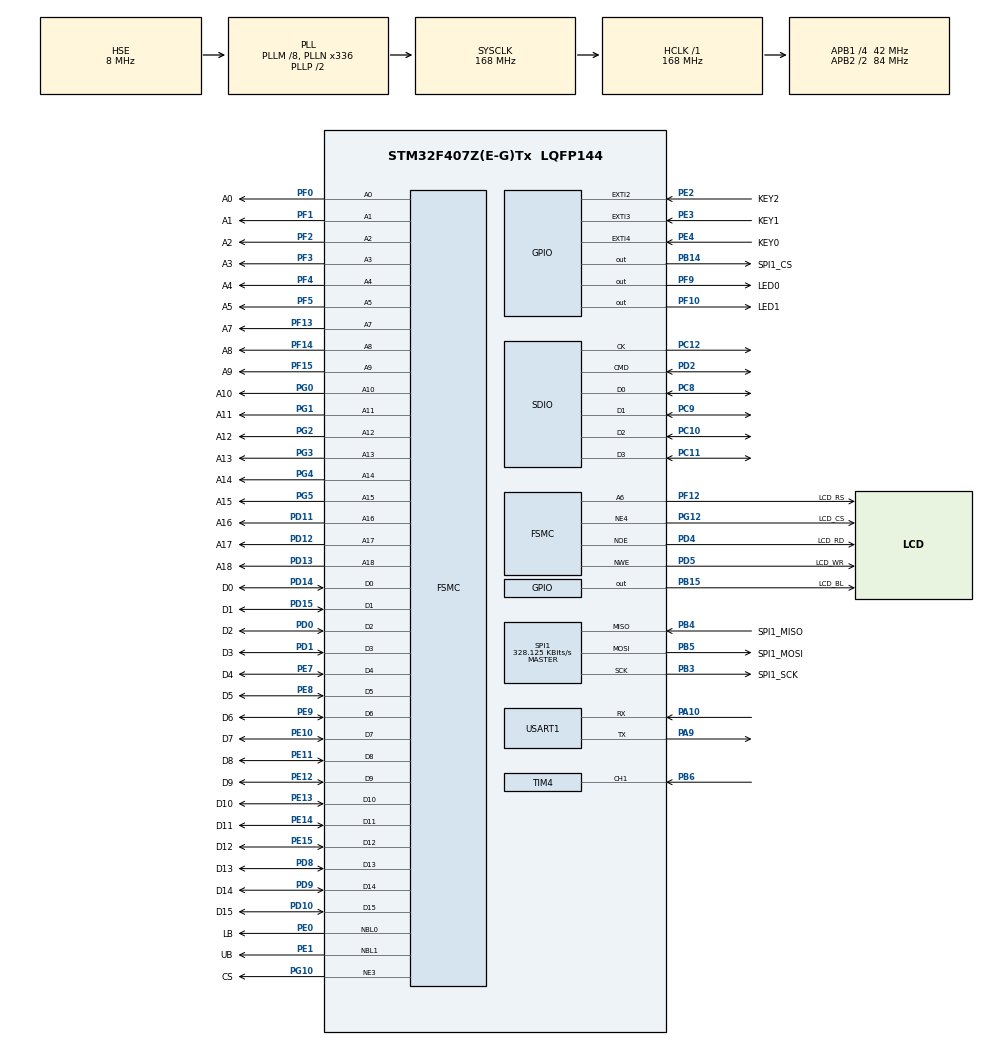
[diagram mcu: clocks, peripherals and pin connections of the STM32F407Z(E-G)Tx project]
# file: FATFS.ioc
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Dma.Request0=SDIO_RX
Dma.Request1=SDIO_TX
Dma.SDIO_RX.0.Direction=DMA_PERIPH_TO_MEMORY
Dma.SDIO_RX.0.FIFOMode=DMA_FIFOMODE_ENABLE
Dma.SDIO_RX.0.FIFOThreshold=DMA_FIFO_THRESHOLD_FULL
Dma.SDIO_RX.0.Instance=DMA2_Stream3
Dma.SDIO_RX.0.MemBurst=DMA_MBURST_INC4
Dma.SDIO_RX.0.MemDataAlignment=DMA_MDATAALIGN_BYTE
Dma.SDIO_RX.0.MemInc=DMA_MINC_ENABLE
Dma.SDIO_RX.0.Mode=DMA_PFCTRL
Dma.SDIO_RX.0.PeriphBurst=DMA_PBURST_INC4
Dma.SDIO_RX.0.PeriphDataAlignment=DMA_PDATAALIGN_WORD
Dma.SDIO_RX.0.PeriphInc=DMA_PINC_DISABLE
Dma.SDIO_RX.0.Priority=DMA_PRIORITY_LOW
Dma.SDIO_TX.1.Direction=DMA_MEMORY_TO_PERIPH
Dma.SDIO_TX.1.FIFOMode=DMA_FIFOMODE_ENABLE
Dma.SDIO_TX.1.FIFOThreshold=DMA_FIFO_THRESHOLD_FULL
Dma.SDIO_TX.1.Instance=DMA2_Stream6
Dma.SDIO_TX.1.MemBurst=DMA_MBURST_INC4
Dma.SDIO_TX.1.MemDataAlignment=DMA_MDATAALIGN_BYTE
Dma.SDIO_TX.1.MemInc=DMA_MINC_ENABLE
Dma.SDIO_TX.1.Mode=DMA_PFCTRL
Dma.SDIO_TX.1.PeriphBurst=DMA_PBURST_INC4
Dma.SDIO_TX.1.PeriphDataAlignment=DMA_PDATAALIGN_WORD
Dma.SDIO_TX.1.PeriphInc=DMA_PINC_DISABLE
Dma.SDIO_TX.1.Priority=DMA_PRIORITY_LOW
FSMC.AddressSetupTime1=2
FSMC.BusTurnAroundDuration1=0
FSMC.DataSetupTime1=8
FSMC.DataSetupTime2=60
FSMC.ExtendedAddressSetupTime2=9
FSMC.ExtendedDataSetupTime2=9
FSMC.ExtendedMode2=FSMC_EXTENDED_MODE_ENABLE
Mcu.Family=STM32F4
Mcu.Name=STM32F407Z(E-G)Tx
Mcu.Package=LQFP144
NVIC.DMA2_Stream3_IRQn=true\:2\:0\:true\:false\:true\:false\:true
NVIC.DMA2_Stream6_IRQn=true\:2\:0\:true\:false\:true\:false\:true
NVIC.EXTI2_IRQn=true\:3\:1\:true\:false\:true\:true\:true
NVIC.EXTI3_IRQn=true\:3\:1\:true\:false\:true\:true\:true
NVIC.EXTI4_IRQn=true\:3\:1\:true\:false\:true\:true\:true
NVIC.PriorityGroup=NVIC_PRIORITYGROUP_2
NVIC.SDIO_IRQn=true\:1\:0\:true\:false\:true\:true\:true
NVIC.TIM4_IRQn=true\:3\:3\:true\:false\:true\:true\:true
NVIC.USART1_IRQn=true\:3\:3\:true\:false\:true\:true\:true
PA10.Mode=Asynchronous
PA10.Signal=USART1_RX
PA13.Mode=Serial_Wire
PA13.Signal=SYS_JTMS-SWDIO
PA14.Mode=Serial_Wire
PA14.Signal=SYS_JTCK-SWCLK
PA9.Mode=Asynchronous
PA9.Signal=USART1_TX
PB14.GPIO_Label=SPI1_CS
PB14.GPIO_PuPd=GPIO_PULLUP
PB14.GPIO_Speed=GPIO_SPEED_FREQ_HIGH
PB14.PinState=GPIO_PIN_SET
PB14.Signal=GPIO_Output
PB15.GPIO_Label=LCD_BL
PB15.GPIO_PuPd=GPIO_PULLDOWN
PB15.GPIO_Speed=GPIO_SPEED_FREQ_HIGH
PB15.PinState=GPIO_PIN_SET
PB15.Signal=GPIO_Output
PB3.GPIO_Label=SPI1_SCK
PB3.GPIO_PuPd=GPIO_PULLUP
PB3.Mode=Full_Duplex_Master
PB3.Signal=SPI1_SCK
PB4.GPIO_Label=SPI1_MISO
PB4.GPIO_PuPd=GPIO_PULLUP
PB4.Mode=Full_Duplex_Master
PB4.Signal=SPI1_MISO
PB5.GPIO_Label=SPI1_MOSI
PB5.GPIO_PuPd=GPIO_PULLUP
PB5.Mode=Full_Duplex_Master
PB5.Signal=SPI1_MOSI
PB6.Signal=S_TIM4_CH1
PC10.GPIO_PuPd=GPIO_PULLUP
PC10.Mode=SD_4_bits_Wide_bus
PC10.Signal=SDIO_D2
PC11.GPIO_PuPd=GPIO_PULLUP
PC11.Mode=SD_4_bits_Wide_bus
PC11.Signal=SDIO_D3
PC12.GPIO_PuPd=GPIO_PULLUP
PC12.Mode=SD_4_bits_Wide_bus
PC12.Signal=SDIO_CK
PC8.GPIO_PuPd=GPIO_PULLUP
PC8.Mode=SD_4_bits_Wide_bus
PC8.Signal=SDIO_D0
PC9.GPIO_PuPd=GPIO_PULLUP
PC9.Mode=SD_4_bits_Wide_bus
PC9.Signal=SDIO_D1
PD0.GPIO_Label=D2
PD0.GPIO_PuPd=GPIO_PULLUP
PD0.Signal=FSMC_D2_DA2
PD1.GPIO_Label=D3
PD1.GPIO_PuPd=GPIO_PULLUP
PD1.Signal=FSMC_D3_DA3
PD10.GPIO_Label=D15
PD10.GPIO_PuPd=GPIO_PULLUP
PD10.Signal=FSMC_D15_DA15
PD11.GPIO_Label=A16
PD11.GPIO_PuPd=GPIO_PULLUP
PD11.Signal=FSMC_A16_CLE
PD12.GPIO_Label=A17
PD12.Signal=FSMC_A17_ALE
PD13.GPIO_Label=A18
PD13.Signal=FSMC_A18
PD14.GPIO_Label=D0
PD14.GPIO_PuPd=GPIO_PULLUP
PD14.Signal=FSMC_D0_DA0
PD15.GPIO_Label=D1
PD15.GPIO_PuPd=GPIO_PULLUP
PD15.Signal=FSMC_D1_DA1
PD2.GPIO_PuPd=GPIO_PULLUP
PD2.Mode=SD_4_bits_Wide_bus
PD2.Signal=SDIO_CMD
PD4.GPIO_Label=LCD_RD
PD4.GPIO_PuPd=GPIO_PULLUP
PD4.Signal=FSMC_NOE
PD5.GPIO_Label=LCD_WR
PD5.GPIO_PuPd=GPIO_PULLUP
PD5.Signal=FSMC_NWE
PD8.GPIO_Label=D13
PD8.GPIO_PuPd=GPIO_PULLUP
PD8.Signal=FSMC_D13_DA13
PD9.GPIO_Label=D14
PD9.GPIO_PuPd=GPIO_PULLUP
PD9.Signal=FSMC_D14_DA14
PE0.GPIO_Label=LB
PE0.GPIO_PuPd=GPIO_PULLUP
PE0.Signal=FSMC_NBL0
PE1.GPIO_Label=UB
PE1.GPIO_PuPd=GPIO_PULLUP
PE1.Signal=FSMC_NBL1
PE10.GPIO_Label=D7
PE10.GPIO_PuPd=GPIO_PULLUP
PE10.Signal=FSMC_D7_DA7
PE11.GPIO_Label=D8
PE11.GPIO_PuPd=GPIO_PULLUP
PE11.Signal=FSMC_D8_DA8
PE12.GPIO_Label=D9
PE12.GPIO_PuPd=GPIO_PULLUP
PE12.Signal=FSMC_D9_DA9
PE13.GPIO_Label=D10
PE13.GPIO_PuPd=GPIO_PULLUP
PE13.Signal=FSMC_D10_DA10
PE14.GPIO_Label=D11
PE14.GPIO_PuPd=GPIO_PULLUP
PE14.Signal=FSMC_D11_DA11
PE15.GPIO_Label=D12
PE15.GPIO_PuPd=GPIO_PULLUP
PE15.Signal=FSMC_D12_DA12
PE2.GPIO_Label=KEY2
PE2.GPIO_ModeDefaultEXTI=GPIO_MODE_IT_FALLING
PE2.GPIO_PuPd=GPIO_PULLUP
PE2.Signal=GPXTI2
PE3.GPIO_Label=KEY1
PE3.GPIO_ModeDefaultEXTI=GPIO_MODE_IT_FALLING
PE3.GPIO_PuPd=GPIO_PULLUP
PE3.Signal=GPXTI3
PE4.GPIO_Label=KEY0
PE4.GPIO_ModeDefaultEXTI=GPIO_MODE_IT_FALLING
PE4.GPIO_PuPd=GPIO_PULLUP
PE4.Signal=GPXTI4
PE7.GPIO_Label=D4
PE7.GPIO_PuPd=GPIO_PULLUP
PE7.Signal=FSMC_D4_DA4
PE8.GPIO_Label=D5
PE8.GPIO_PuPd=GPIO_PULLUP
PE8.Signal=FSMC_D5_DA5
PE9.GPIO_Label=D6
PE9.GPIO_PuPd=GPIO_PULLUP
PE9.Signal=FSMC_D6_DA6
PF0.GPIO_Label=A0
PF0.GPIO_PuPd=GPIO_PULLUP
PF0.Signal=FSMC_A0
PF1.GPIO_Label=A1
PF1.Signal=FSMC_A1
PF10.GPIO_Label=LED1
PF10.GPIO_PuPd=GPIO_PULLUP
PF10.GPIO_Speed=GPIO_SPEED_FREQ_HIGH
PF10.PinState=GPIO_PIN_SET
PF10.Signal=GPIO_Output
PF12.GPIO_Label=LCD_RS
PF12.GPIO_PuPd=GPIO_PULLUP
PF12.Signal=FSMC_A6
PF13.GPIO_Label=A7
PF13.GPIO_PuPd=GPIO_PULLUP
PF13.Signal=FSMC_A7
PF14.GPIO_Label=A8
PF14.GPIO_PuPd=GPIO_PULLUP
PF14.Signal=FSMC_A8
PF15.GPIO_Label=A9
PF15.GPIO_PuPd=GPIO_PULLUP
PF15.Signal=FSMC_A9
PF2.GPIO_Label=A2
PF2.Signal=FSMC_A2
PF3.GPIO_Label=A3
PF3.Signal=FSMC_A3
PF4.GPIO_Label=A4
PF4.GPIO_PuPd=GPIO_PULLUP
PF4.Signal=FSMC_A4
PF5.GPIO_Label=A5
PF5.GPIO_PuPd=GPIO_PULLUP
PF5.Signal=FSMC_A5
PF9.GPIO_Label=LED0
PF9.GPIO_PuPd=GPIO_PULLUP
PF9.GPIO_Speed=GPIO_SPEED_FREQ_HIGH
PF9.PinState=GPIO_PIN_SET
PF9.Signal=GPIO_Output
PG0.GPIO_Label=A10
PG0.GPIO_PuPd=GPIO_PULLUP
PG0.Signal=FSMC_A10
PG1.GPIO_Label=A11
PG1.GPIO_PuPd=GPIO_PULLUP
PG1.Signal=FSMC_A11
PG10.GPIO_Label=CS
PG10.GPIO_PuPd=GPIO_PULLUP
PG10.Mode=NorPsramChipSelect3_1
PG10.Signal=FSMC_NE3
PG12.GPIO_Label=LCD_CS
PG12.GPIO_PuPd=GPIO_PULLUP
PG12.Mode=NorPsramChipSelect4_2
PG12.Signal=FSMC_NE4
PG2.GPIO_Label=A12
PG2.Signal=FSMC_A12
PG3.GPIO_Label=A13
PG3.GPIO_PuPd=GPIO_PULLUP
PG3.Signal=FSMC_A13
PG4.GPIO_Label=A14
PG4.GPIO_PuPd=GPIO_PULLUP
PG4.Signal=FSMC_A14
PG5.GPIO_Label=A15
PG5.GPIO_PuPd=GPIO_PULLUP
PG5.Signal=FSMC_A15
PH0-OSC_IN.Mode=HSE-External-Oscillator
PH0-OSC_IN.Signal=RCC_OSC_IN
PH1-OSC_OUT.Mode=HSE-External-Oscillator
PH1-OSC_OUT.Signal=RCC_OSC_OUT
ProjectManager.HeapSize=0x200
ProjectManager.StackSize=0x400
ProjectManager.TargetToolchain=MDK-ARM V5
RCC.48MHZClocksFreq_Value=48000000
RCC.AHBFreq_Value=168000000
RCC.APB1CLKDivider=RCC_HCLK_DIV4
RCC.APB1Freq_Value=42000000
RCC.APB1TimFreq_Value=84000000
RCC.APB2CLKDivider=RCC_HCLK_DIV2
RCC.APB2Freq_Value=84000000
RCC.APB2TimFreq_Value=168000000
RCC.CortexFreq_Value=168000000
RCC.HCLKFreq_Value=168000000
RCC.HSE_VALUE=8000000
RCC.HSI_VALUE=16000000
RCC.LSE_VALUE=32768
RCC.PLLM=8
RCC.PLLN=336
RCC.PLLQ=7
RCC.PLLSourceVirtual=RCC_PLLSOURCE_HSE
RCC.SYSCLKFreq_VALUE=168000000
RCC.SYSCLKSource=RCC_SYSCLKSOURCE_PLLCLK
RCC.VCOOutputFreq_Value=336000000
SH.FSMC_A0.0=FSMC_A0,19b-a1
SH.FSMC_A1.0=FSMC_A1,19b-a1
SH.FSMC_A10.0=FSMC_A10,19b-a1
SH.FSMC_A11.0=FSMC_A11,19b-a1
SH.FSMC_A12.0=FSMC_A12,19b-a1
SH.FSMC_A13.0=FSMC_A13,19b-a1
SH.FSMC_A14.0=FSMC_A14,19b-a1
SH.FSMC_A15.0=FSMC_A15,19b-a1
SH.FSMC_A16_CLE.0=FSMC_A16,19b-a1
SH.FSMC_A17_ALE.0=FSMC_A17,19b-a1
SH.FSMC_A18.0=FSMC_A18,19b-a1
SH.FSMC_A2.0=FSMC_A2,19b-a1
SH.FSMC_A3.0=FSMC_A3,19b-a1
SH.FSMC_A4.0=FSMC_A4,19b-a1
SH.FSMC_A5.0=FSMC_A5,19b-a1
SH.FSMC_A6.0=FSMC_A6,A6_2
SH.FSMC_A6.1=FSMC_A6,19b-a1
SH.FSMC_A7.0=FSMC_A7,19b-a1
SH.FSMC_A8.0=FSMC_A8,19b-a1
SH.FSMC_A9.0=FSMC_A9,19b-a1
SH.FSMC_D0_DA0.0=FSMC_D0,16b-d2
SH.FSMC_D0_DA0.1=FSMC_D0,16b-d1
SH.FSMC_D10_DA10.0=FSMC_D10,16b-d2
SH.FSMC_D10_DA10.1=FSMC_D10,16b-d1
SH.FSMC_D11_DA11.0=FSMC_D11,16b-d2
SH.FSMC_D11_DA11.1=FSMC_D11,16b-d1
SH.FSMC_D12_DA12.0=FSMC_D12,16b-d2
SH.FSMC_D12_DA12.1=FSMC_D12,16b-d1
SH.FSMC_D13_DA13.0=FSMC_D13,16b-d2
SH.FSMC_D13_DA13.1=FSMC_D13,16b-d1
SH.FSMC_D14_DA14.0=FSMC_D14,16b-d2
SH.FSMC_D14_DA14.1=FSMC_D14,16b-d1
SH.FSMC_D15_DA15.0=FSMC_D15,16b-d2
SH.FSMC_D15_DA15.1=FSMC_D15,16b-d1
SH.FSMC_D1_DA1.0=FSMC_D1,16b-d2
SH.FSMC_D1_DA1.1=FSMC_D1,16b-d1
SH.FSMC_D2_DA2.0=FSMC_D2,16b-d2
SH.FSMC_D2_DA2.1=FSMC_D2,16b-d1
SH.FSMC_D3_DA3.0=FSMC_D3,16b-d2
SH.FSMC_D3_DA3.1=FSMC_D3,16b-d1
SH.FSMC_D4_DA4.0=FSMC_D4,16b-d2
SH.FSMC_D4_DA4.1=FSMC_D4,16b-d1
SH.FSMC_D5_DA5.0=FSMC_D5,16b-d2
SH.FSMC_D5_DA5.1=FSMC_D5,16b-d1
SH.FSMC_D6_DA6.0=FSMC_D6,16b-d2
SH.FSMC_D6_DA6.1=FSMC_D6,16b-d1
SH.FSMC_D7_DA7.0=FSMC_D7,16b-d2
SH.FSMC_D7_DA7.1=FSMC_D7,16b-d1
SH.FSMC_D8_DA8.0=FSMC_D8,16b-d2
SH.FSMC_D8_DA8.1=FSMC_D8,16b-d1
SH.FSMC_D9_DA9.0=FSMC_D9,16b-d2
SH.FSMC_D9_DA9.1=FSMC_D9,16b-d1
SH.FSMC_NBL0.0=FSMC_NBL0,2ByteEnable1
SH.FSMC_NBL1.0=FSMC_NBL1,2ByteEnable1
SH.FSMC_NOE.0=FSMC_NOE,Lcd2
SH.FSMC_NOE.1=FSMC_NOE,Sram1
SH.FSMC_NWE.0=FSMC_NWE,Lcd2
SH.FSMC_NWE.1=FSMC_NWE,Sram1
SH.S_TIM4_CH1.0=TIM4_CH1,Input_Capture1_from_TI1
SPI1.BaudRatePrescaler=SPI_BAUDRATEPRESCALER_256
SPI1.CLKPhase=SPI_PHASE_2EDGE
SPI1.CLKPolarity=SPI_POLARITY_HIGH
SPI1.CalculateBaudRate=328.125 KBits/s
SPI1.Direction=SPI_DIRECTION_2LINES
SPI1.Mode=SPI_MODE_MASTER
SPI1.VirtualType=VM_MASTER
TIM4.Channel-Input_Capture1_from_TI1=TIM_CHANNEL_1
TIM4.ICPolarity_CH1=TIM_INPUTCHANNELPOLARITY_FALLING
TIM4.Prescaler=84-1
USART1.VirtualMode=VM_ASYNC
VP_TIM4_VS_ClockSourceINT.Mode=Internal
board=custom

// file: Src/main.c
/* USER CODE BEGIN Header */
/**
  ******************************************************************************
  * @file           : main.c
  * @brief          : Main program body
  ******************************************************************************
  * @attention
  *
  * <h2><center>&copy; Copyright (c) 2024 STMicroelectronics.
  * All rights reserved.</center></h2>
  *
  * This software component is licensed by ST under BSD 3-Clause license,
  * the "License"; You may not use this file except in compliance with the
  * License. You may obtain a copy of the License at:
  *                        opensource.org/licenses/BSD-3-Clause
  *
  ******************************************************************************
  */
/* USER CODE END Header */

#include "main.h"
#include "dma.h"
#include "sdio.h"
#include "spi.h"
#include "tim.h"
#include "usart.h"
#include "gpio.h"
#include "fsmc.h"

/* USER CODE BEGIN Includes */
#include "delay.h"
#include "lcd.h"
#include "norflash.h"
#include "exti.h"
#include "sdio_sdcard.h"

#include "sram.h"
#include "mymalloc.h"

#include "usmart.h"
#include "exfuns.h"  //fs、exfuns_init
#include "diskio.h"  //disk_initialize
/* USER CODE END Includes */

/* USER CODE BEGIN PV */
uint8_t lcd_id[12];
uint16_t colors[12] = {WHITE, BLACK, BLUE, RED, MAGENTA, GREEN, CYAN, YELLOW, BRRED, GRAY, LGRAY, BROWN};uint8_t color_index = 0;
uint8_t cur_brightness;
uint8_t* str[23];

HAL_SD_CardInfoTypeDef  g_sd_card_info_handle;   /* SD卡信息结构体 */
uint8_t res = 0;
uint32_t total_space, free_space;
/* USER CODE END PV */

void SystemClock_Config(void);

int main(void)
{

  /* MCU Configuration--------------------------------------------------------*/

  /* Reset of all peripherals, Initializes the Flash interface and the Systick. */
  HAL_Init();

  /* Configure the system clock */
  SystemClock_Config();

  /* Initialize all configured peripherals */
  MX_GPIO_Init();
  MX_DMA_Init();
  MX_FSMC_Init();
  MX_SPI1_Init();
  MX_USART1_UART_Init();
  MX_SDIO_SD_Init();
  MX_TIM4_Init();
  /* USER CODE BEGIN 2 */
	delay_init(168);                        /* 延时初始化 */
	lcd_init();                             /* 初始化LCD */
  g_point_color = RED;
  sprintf((char *)lcd_id, "LCD ID:%04X", lcddev.id);  /* 将LCD ID打印到lcd_id数组 */
	//HAL_GPIO_WritePin(LED1_GPIO_Port, LED1_Pin, GPIO_PIN_RESET);  //LED1亮
	lcd_set_backlight_by_pwm(0xFF); // 设置占空比为255,开启背光最亮

	cur_brightness = lcd_get_backlight_by_pwm(); //获取当前背光值
	sprintf((char*)str, "current brightness:%3u", cur_brightness);

	lcd_clear(colors[color_index]);  //清屏
	lcd_show_string(10, 40, 240, 32, 32, "STM32", RED);
	lcd_show_string(10, 80, 240, 24, 24, "TFTLCD TEST", RED);
	lcd_show_string(10, 110, 240, 16, 16, "ATOM@ALIENTEK", RED);
	lcd_show_string(10, 130, 240, 16, 16, (char *)lcd_id, RED); /* 显示LCD ID */
	lcd_show_string(10, 150, 240, 16, 16, (char *)str, RED); /* 显示亮度 */
	lcd_show_string(10, 170, 200, 16, 16, "KEY0:Test SD!", RED);
	lcd_show_string(10, 190, 200, 16, 16, "KEY1:Test norflash!", RED);
	lcd_show_string(10, 210, 200, 16, 16, "KEY2:Test SRAM!", RED);

	norflash_init();  //初始化norflash
	uint16_t id = norflash_read_id();
	printf("norflash id is %d\n", id);
	sprintf((char *)datatemp, "%s", (char *)g_text_buf);
	while ((id == 0) || (id == 0xFFFF)) /* 检测不到FLASH芯片 */ {
		printf("FLASH Check Failed!\n");
		HAL_Delay(500);
		printf("Please Check! \n");
		HAL_Delay(500);
	}

	sram_init();                        /* SRAM初始化 */

	my_mem_init(SRAMIN);                /* 初始化内部SRAM内存池 */
	my_mem_init(SRAMEX);                /* 初始化外部SRAM内存池 */
	my_mem_init(SRAMCCM);               /* 初始化内部CCM内存池 */

	usmart_dev.init(84);                    /* USMART初始化 */
	//开启接收中断：标志位UART_IT_RXNE，并且设置接收缓冲以及接收缓冲接收最大数据量 */
	HAL_UART_Receive_IT(&huart1, (uint8_t *)g_rx_buffer, RXBUFFERSIZE);

	while (sd_init())   // 检测不到SD卡
	{
			lcd_show_string(30, 330, 200, 16, 16, "SD Card Error!", RED);
			delay_ms(500);
			lcd_show_string(30, 330, 200, 16, 16, "Please Check! ", RED);
			delay_ms(500);
			HAL_GPIO_TogglePin(LED1_GPIO_Port, LED1_Pin); // LED1闪烁
	}

  /*
	printf("SDIO test!\n");
	HAL_SD_GetCardInfo(&hsd, &g_sd_card_info_handle);  //初始化完成后获取sd卡信息
	printf("CardType:%u\n", g_sd_card_info_handle.CardType);  //卡类型
	printf("CardVersion:%u\n", g_sd_card_info_handle.CardVersion);  //卡版本
	printf("Class:%u\n", g_sd_card_info_handle.Class);  //卡类型
	printf("BlockSize:%u\n", g_sd_card_info_handle.BlockSize);  //块大小
	printf("LogBlockNbr:%u\n", g_sd_card_info_handle.LogBlockNbr);  //以块为单位的卡的逻辑容量
	printf("LogBlockSize:%u\n", g_sd_card_info_handle.LogBlockSize);  //指定逻辑块大小（以字节为单位）
	*/

	exfuns_init();                  /* 为fatfs相关变量申请内存 */

	res = f_mount(fs[0], "0:", 1);        // 挂载SD卡
	//当调用 `f_mount` 函数来挂载文件系统时，`disk_initialize` 会被间接调用，以确保底层存储设备（如SD卡）已准备好进行读写操作
	/*
	`f_mount` 函数用于在 FatFs 模块中注册或注销文件系统对象。它的返回值如下：
	- FR_OK = 0,				// (0) Succeeded 操作成功
	- FR_DISK_ERR,			// (1) A hard error occurred in the low level disk I/O layer  低级磁盘 I/O 错误
	- FR_INT_ERR,				// (2) Assertion failed
	- FR_NOT_READY,			// (3) The physical drive cannot work
	- FR_NO_FILE,				// (4) Could not find the file
	- FR_NO_PATH,				// (5) Could not find the path
	- FR_INVALID_NAME,		// (6) The path name format is invalid
	- FR_DENIED,				// (7) Access denied due to prohibited access or directory full
	- FR_EXIST,				// (8) Access denied due to prohibited access
	- FR_INVALID_OBJECT,		// (9) The file/directory object is invalid
	- FR_WRITE_PROTECTED,		// (10) The physical drive is write protected
	- FR_INVALID_DRIVE,		// (11) The logical drive number is invalid  无效的驱动器号
	- FR_NOT_ENABLED,			// (12) The volume has no work area 卷未启用
	- FR_NO_FILESYSTEM,		// (13) There is no valid FAT volume 没有有效的文件系统
	- FR_MKFS_ABORTED,		// (14) The f_mkfs() aborted due to any problem
	- FR_TIMEOUT,				// (15) Could not get a grant to access the volume within defined period
	- FR_LOCKED,				// (16) The operation is rejected according to the file sharing policy
	- FR_NOT_ENOUGH_CORE,		// (17) LFN working buffer could not be allocated
	- FR_TOO_MANY_OPEN_FILES,	// (18) Number of open files > FF_FS_LOCK
	- FR_INVALID_PARAMETER	// (19) Given parameter is invalid
	*/
	printf("f_mount sd res:%u\n", res);
	if(FR_OK == res){
		lcd_show_string(30, 330, 200, 16, 16, "SD Disk Mount Successed!", RED);     /* FLASH格式化成功 */
	}
	if (res == 0X0D) {               /* SD磁盘,FAT文件系统错误,重新格式化SD */
			printf("sd fs error!\n");
			lcd_show_string(30, 330, 200, 16, 16, "SD Disk Formatting...", RED);         /* 格式化SD */
			res = f_mkfs("0:", 0, 0, FF_MAX_SS);                                            /* 格式化SD,0:,盘符;0,使用默认格式化参数 */

			if (res == 0){
					f_setlabel((const TCHAR *)"0:ALIENTEK_SD");                                    /* 设置SD磁盘的名字为：ALIENTEK_SD */
					lcd_show_string(30, 330, 200, 16, 16, "SD Disk Format Finish", RED);     /* 格式化完成 */
			}	else	{
					lcd_show_string(30, 330, 200, 16, 16, "SD Disk Format Error ", RED);     /* 格式化失败 */
			}
			delay_ms(1000);
	}

	//lcd_fill(30, 150, 240, 150 + 16, WHITE);    /* 清除显示 */

	res = f_mount(fs[1], "1:", 1);  /* 挂载FLASH */
	printf("f_mount flash res:%u\n", res);
	if(FR_OK == res){
		lcd_show_string(30, 350, 200, 16, 16, "Flash Disk Mount Successed!", RED);     /* FLASH格式化成功 */
	}
	if (res == 0X0D) {                /* FLASH磁盘,FAT文件系统错误,重新格式化FLASH */
			printf("flash fs error!\n");
			lcd_show_string(30, 350, 200, 16, 16, "Flash Disk Formatting...", RED);         /* 格式化FLASH */
			res = f_mkfs("1:", 0, 0, FF_MAX_SS);                                            /* 格式化FLASH,1:,盘符;1,使用默认格式化参数 */

			if (res == 0)	{
					f_setlabel((const TCHAR *)"1:ALIENTEK_FLASH");                                    /* 设置Flash磁盘的名字为：ALIENTEK_FLASH */
					lcd_show_string(30, 350, 200, 16, 16, "Flash Disk Format Finish", RED);     /* 格式化完成 */
			}	else {
					lcd_show_string(30, 350, 200, 16, 16, "Flash Disk Format Error ", RED);     /* 格式化失败 */
			}
			delay_ms(1000);
	}
	while (exfuns_get_free("0:", &total_space, &free_space)) /* 得到SD卡的总容量和剩余容量 */
	{
			lcd_show_string(30, 370, 200, 16, 16, "SD Card Fatfs Error!", RED);
			delay_ms(200);
			lcd_fill(30, 370, 240, 150 + 16, WHITE);/* 清除显示 */
			delay_ms(200);
			HAL_GPIO_TogglePin(LED1_GPIO_Port, LED1_Pin); /* LED1闪烁 */
	}

	lcd_show_string(30, 370, 200, 16, 16, "FATFS OK!", BLUE);
	lcd_show_string(30, 390, 200, 16, 16, "SD Total Size:     MB", BLUE);
	lcd_show_string(30, 410, 200, 16, 16, "SD Free Size:      MB", BLUE);
	lcd_show_num(30 + 8 * 14, 390, total_space >> 10, 5, 16, BLUE);               /* 显示SD卡总容量 MB */
	lcd_show_num(30 + 8 * 14, 410, free_space >> 10, 5, 16, BLUE);                /* 显示SD卡剩余容量 MB */
  /* USER CODE END 2 */

  /* Infinite loop */
  /* USER CODE BEGIN WHILE */
  while (1)
  {
		HAL_GPIO_TogglePin(LED0_GPIO_Port, LED0_Pin); /* LED0闪烁 */
		HAL_Delay(300);
    /* USER CODE END WHILE */

  }
}

void SystemClock_Config(void)
{
  RCC_OscInitTypeDef RCC_OscInitStruct = {0};
  RCC_ClkInitTypeDef RCC_ClkInitStruct = {0};

  /** Configure the main internal regulator output voltage
  */
  __HAL_RCC_PWR_CLK_ENABLE();
  __HAL_PWR_VOLTAGESCALING_CONFIG(PWR_REGULATOR_VOLTAGE_SCALE1);
  /** Initializes the CPU, AHB and APB busses clocks
  */
  RCC_OscInitStruct.OscillatorType = RCC_OSCILLATORTYPE_HSE;
  RCC_OscInitStruct.HSEState = RCC_HSE_ON;
  RCC_OscInitStruct.PLL.PLLState = RCC_PLL_ON;
  RCC_OscInitStruct.PLL.PLLSource = RCC_PLLSOURCE_HSE;
  RCC_OscInitStruct.PLL.PLLM = 8;
  RCC_OscInitStruct.PLL.PLLN = 336;
  RCC_OscInitStruct.PLL.PLLP = RCC_PLLP_DIV2;
  RCC_OscInitStruct.PLL.PLLQ = 7;
  if (HAL_RCC_OscConfig(&RCC_OscInitStruct) != HAL_OK)
  {
    Error_Handler();
  }
  /** Initializes the CPU, AHB and APB busses clocks
  */
  RCC_ClkInitStruct.ClockType = RCC_CLOCKTYPE_HCLK|RCC_CLOCKTYPE_SYSCLK
                              |RCC_CLOCKTYPE_PCLK1|RCC_CLOCKTYPE_PCLK2;
  RCC_ClkInitStruct.SYSCLKSource = RCC_SYSCLKSOURCE_PLLCLK;
  RCC_ClkInitStruct.AHBCLKDivider = RCC_SYSCLK_DIV1;
  RCC_ClkInitStruct.APB1CLKDivider = RCC_HCLK_DIV4;
  RCC_ClkInitStruct.APB2CLKDivider = RCC_HCLK_DIV2;

  if (HAL_RCC_ClockConfig(&RCC_ClkInitStruct, FLASH_LATENCY_5) != HAL_OK)
  {
    Error_Handler();
  }
}

/* USER CODE BEGIN 4 */
/* LED状态设置函数 */
void led_set(uint8_t sta)
{
	sta ? \
                      HAL_GPIO_WritePin(LED1_GPIO_Port, LED1_Pin, GPIO_PIN_SET) : \
                      HAL_GPIO_WritePin(LED1_GPIO_Port, LED1_Pin, GPIO_PIN_RESET);
}
/* USER CODE END 4 */

void Error_Handler(void)
{
}

/************************ (C) COPYRIGHT STMicroelectronics *****END OF FILE****/
